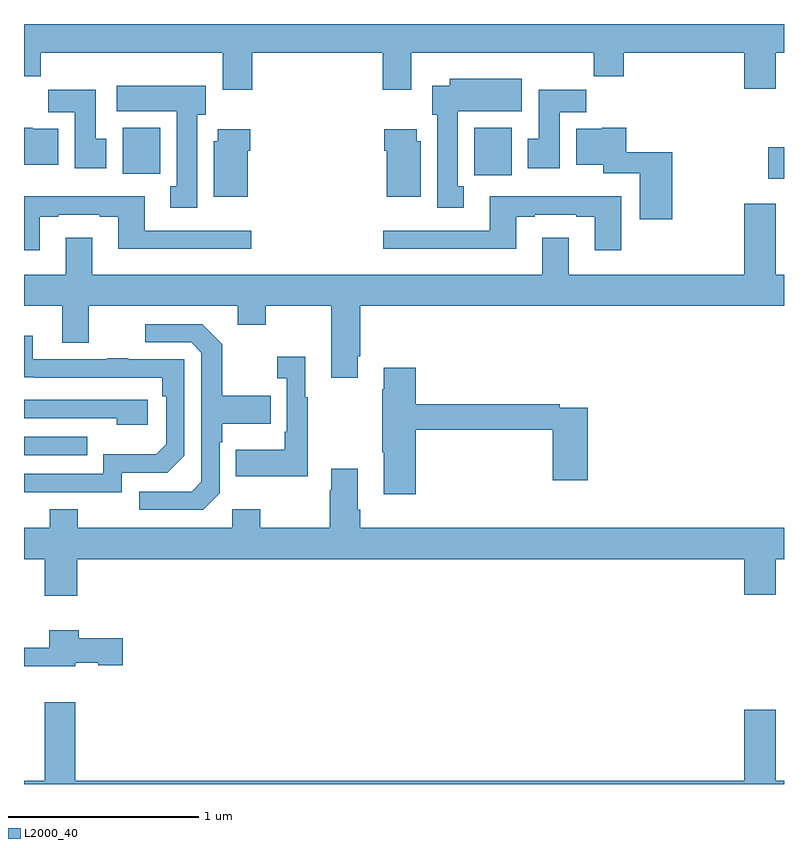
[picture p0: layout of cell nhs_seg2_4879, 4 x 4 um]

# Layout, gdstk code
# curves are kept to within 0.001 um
import gdstk
lib = gdstk.Library(unit=1e-6, precision=1e-09)
def R(c, l, rs):  # rectangles x0, y0, x1, y1
    for r in rs: c.add(gdstk.rectangle(r[:2], r[2:], *l))
def P(c, l, *ps):  # polygons
    for p in ps: c.add(gdstk.Polygon(p, *l))
L2000_40 = (2000, 40)

nhs_seg2_4879 = lib.new_cell('nhs_seg2_4879')
R(nhs_seg2_4879, L2000_40, [(377,633.531,377.333,633.627), (380.916,634.985,381,635.151), (379.371,635.004,379.567,635.254), (377.519,635.012,377.716,635.254)])
P(nhs_seg2_4879, L2000_40, [(377,635.524),(377.087,635.524),(377.087,635.648),(378.047,635.648),(378.047,635.454),(378.2,635.454),(378.2,635.648),(378.887,635.648),(378.887,635.454),(379.039,635.454),(379.039,635.648),(379.999,635.648),(379.999,635.524),(380.156,635.524),(380.156,635.648),(380.792,635.648),(380.792,635.46),(380.956,635.46),(380.956,635.648),(381,635.648),(381,635.8),(377,635.8)],
  [(379.315,634.945),(379.282,634.945),(379.282,635.342),(379.621,635.342),(379.621,635.512),(379.241,635.512),(379.241,635.476),(379.148,635.476),(379.148,635.322),(379.175,635.322),(379.175,634.833),(379.315,634.833)],
  [(377.911,635.322),(377.956,635.322),(377.956,635.476),(377.487,635.476),(377.487,635.342),(377.804,635.342),(377.804,634.946),(377.771,634.946),(377.771,634.833),(377.911,634.833)],
  [(377.434,635.196),(377.377,635.196),(377.377,635.455),(377.128,635.455),(377.128,635.336),(377.267,635.336),(377.267,635.04),(377.434,635.04)],
  [(379.819,635.336),(379.958,635.336),(379.958,635.454),(379.709,635.454),(379.709,635.196),(379.652,635.196),(379.652,635.04),(379.819,635.04)],
  [(380.411,635.125),(380.171,635.125),(380.171,635.254),(380.04,635.254),(380.04,635.248),(379.907,635.248),(379.907,635.06),(380.048,635.06),(380.048,635.015),(380.24,635.015),(380.24,634.773),(380.411,634.773)],
  [(377.179,635.248),(377.046,635.248),(377.046,635.254),(377,635.254),(377,635.06),(377.179,635.06)],
  [(379.087,635.184),(379.066,635.184),(379.066,635.245),(378.896,635.245),(378.896,635.132),(378.908,635.132),(378.908,634.892),(379.087,634.892)],
  [(378.178,635.132),(378.191,635.132),(378.191,635.245),(378.02,635.245),(378.02,635.184),(377.999,635.184),(377.999,634.892),(378.178,634.892)],
  [(380.143,634.894),(379.451,634.894),(379.451,634.713),(378.891,634.713),(378.891,634.616),(379.591,634.616),(379.591,634.785),(379.687,634.785),(379.687,634.797),(379.907,634.797),(379.907,634.785),(380.003,634.785),(380.003,634.608),(380.143,634.608)],
  [(377.083,634.785),(377.179,634.785),(377.179,634.797),(377.399,634.797),(377.399,634.785),(377.495,634.785),(377.495,634.616),(378.196,634.616),(378.196,634.713),(377.635,634.713),(377.635,634.894),(377,634.894),(377,634.608),(377.083,634.608)],
  [(377.359,634.675),(377.219,634.675),(377.219,634.48),(377,634.48),(377,634.316),(377.201,634.316),(377.201,634.122),(377.341,634.122),(377.341,634.316),(378.125,634.316),(378.125,634.217),(378.273,634.217),(378.273,634.316),(378.617,634.316),(378.617,633.939),(378.757,633.939),(378.757,634.051),(378.77,634.051),(378.77,634.316),(381,634.316),(381,634.48),(380.956,634.48),(380.956,634.855),(380.792,634.855),(380.792,634.48),(379.867,634.48),(379.867,634.675),(379.727,634.675),(379.727,634.48),(377.359,634.48)],
  [(378.03,633.33),(378.03,633.599),(378.043,633.599),(378.043,633.695),(378.299,633.695),(378.299,633.843),(378.043,633.843),(378.043,634.115),(377.937,634.221),(377.637,634.221),(377.637,634.125),(377.88,634.125),(377.934,634.071),(377.934,633.39),(377.883,633.339),(377.607,633.339),(377.607,633.243),(377.943,633.243)],
  [(377.514,633.438),(377.754,633.438),(377.844,633.528),(377.844,634.035),(377.549,634.035),(377.549,634.04),(377.437,634.04),(377.437,634.035),(377.047,634.035),(377.047,634.159),(377,634.159),(377,633.94),(377.728,633.939),(377.728,633.842),(377.748,633.842),(377.748,633.588),(377.695,633.535),(377.418,633.535),(377.418,633.432),(377,633.432),(377,633.336),(377.514,633.336)],
  [(378.493,633.835),(378.481,633.835),(378.481,634.048),(378.333,634.048),(378.333,633.935),(378.384,633.935),(378.384,633.655),(378.372,633.655),(378.372,633.559),(378.115,633.559),(378.115,633.419),(378.493,633.419)],
  [(379.061,633.664),(379.784,633.664),(379.784,633.399),(379.967,633.399),(379.967,633.78),(379.82,633.78),(379.82,633.8),(379.061,633.8),(379.061,633.991),(378.893,633.991),(378.893,633.878),(378.886,633.878),(378.886,633.547),(378.893,633.547),(378.893,633.324),(379.061,633.324)],
  [(377.65,633.822),(377,633.822),(377,633.726),(377.489,633.726),(377.489,633.692),(377.65,633.692)],
  [(377.279,632.984),(380.792,632.984),(380.792,632.796),(380.956,632.796),(380.956,632.984),(381,632.984),(381,633.148),(378.77,633.148),(378.77,633.244),(378.757,633.244),(378.757,633.46),(378.617,633.46),(378.617,633.347),(378.61,633.347),(378.61,633.148),(378.243,633.148),(378.243,633.247),(378.096,633.247),(378.096,633.148),(377.283,633.148),(377.283,633.247),(377.135,633.247),(377.135,633.148),(377,633.148),(377,632.984),(377.108,632.984),(377.108,632.79),(377.279,632.79)],
  [(377.271,632.438),(377.39,632.438),(377.39,632.426),(377.521,632.426),(377.521,632.568),(377.288,632.568),(377.288,632.608),(377.132,632.608),(377.132,632.517),(377,632.517),(377,632.42),(377.271,632.42)],
  [(381,631.816),(380.956,631.816),(380.956,632.191),(380.792,632.191),(380.792,631.816),(377.269,631.816),(377.269,632.23),(377.108,632.23),(377.108,631.816),(377,631.816),(377,631.8),(381,631.8)])

lib.write_gds('nhs_seg2_4879.gds')
